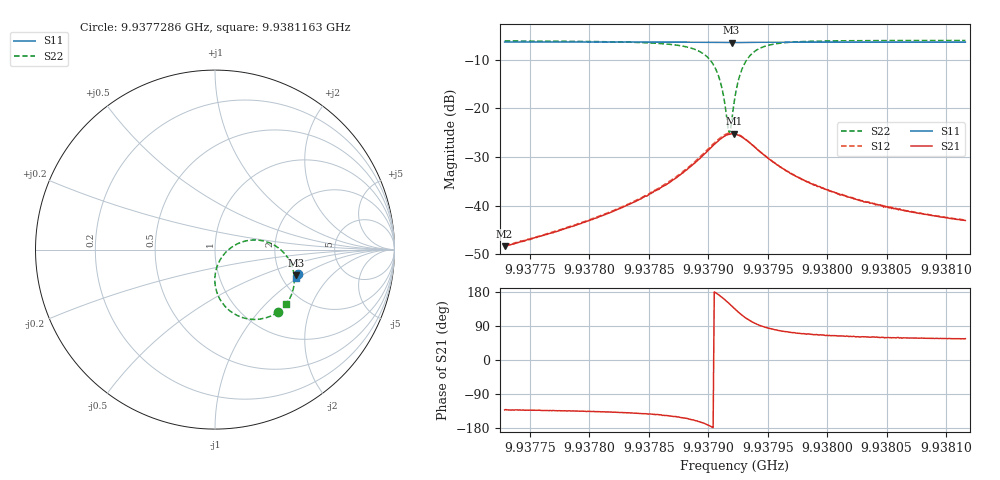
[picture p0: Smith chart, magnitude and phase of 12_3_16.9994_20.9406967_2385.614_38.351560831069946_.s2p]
#  HZ  S  RI  R  50.00
! Rohde & Schwarz Vector Network Analyzer
! Rohde-Schwarz,ZNB20-2Port,1311601062101988,3.16
! Created: UTC 3/20/2024, 10:52:38 PM
! freq[Hz]  re:S11  im:S11  re:S21  im:S21  re:S12  im:S12  re:S22  im:S22
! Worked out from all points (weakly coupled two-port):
!   401 points, 9.9377286 GHz to 9.9381163 GHz, reference 50 ohm
!   highest |S21| = -25.22 dB at 9.9379215 GHz (marker M1); lowest = -48.3 dB at 9.9377286 GHz (marker M2)
!   lowest |S11| = -6.5 dB at 9.9379196 GHz (marker M3), VSWR 2.80, Z = 121 - j44.5 ohm
!   |S11| at or under -10 dB: nowhere
!   |S22| runs from -25.1 to -6.0 dB; largest |S21 - S12| = 0.003
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9.93772861e9  0.4625 -0.1336  -0.00255 -0.00286  -0.00261 -0.00289  0.3513 -0.3466
9.93779355e9  0.4607 -0.1383  -0.00469 -0.00468  -0.00484 -0.00468  0.3286 -0.361
9.93783039e9  0.4596 -0.1408  -0.00751 -0.00648  -0.00771 -0.00651  0.302 -0.3737
9.9378585e9  0.4583 -0.1433  -0.012 -0.00855  -0.0125 -0.00869  0.2605 -0.3857
9.93788564e9  0.4563 -0.1453  -0.0235 -0.00983  -0.0243 -0.00991  0.1653 -0.3823
9.93790018e9  0.4543 -0.1459  -0.037 -0.0051  -0.0383 -0.00417  0.062 -0.3224
9.937906e9  0.4532 -0.1456  -0.0436 0.00155  -0.0452 0.00302  0.0179 -0.2569
9.93790988e9  0.4527 -0.1451  -0.0472 0.0088  -0.0484 0.0111  0.000343 -0.1924
9.93791278e9  0.4521 -0.1446  -0.0487 0.0158  -0.0494 0.0181  0.00154 -0.135
9.93791666e9  0.452 -0.1436  -0.0473 0.0257  -0.0474 0.0286  0.0297 -0.0551
9.93791763e9  0.452 -0.1433  -0.0463 0.0282  -0.0463 0.0312  0.0418 -0.0367
9.93791957e9  0.452 -0.1428  -0.0437 0.0331  -0.0432 0.0359  0.0715 -0.00353
9.93792151e9  0.4525 -0.1426  -0.0402 0.0373  -0.0391 0.0399  0.1078 0.023
9.93792248e9  0.4526 -0.1422  -0.038 0.039  -0.0367 0.0416  0.1273 0.0333
9.93792539e9  0.4533 -0.1418  -0.0312 0.0428  -0.0297 0.0451  0.1883 0.0515
9.93792926e9  0.4542 -0.1415  -0.0219 0.0448  -0.0201 0.0463  0.2639 0.0494
9.93793896e9  0.456 -0.1424  -0.00509 0.0398  -0.00373 0.0401  0.3847 -0.0191
9.93795931e9  0.4572 -0.1451  0.00537 0.0251  0.00598 0.025  0.4414 -0.1502
9.93798742e9  0.4569 -0.1481  0.00634 0.0155  0.00678 0.0154  0.4341 -0.2274
9.93801747e9  0.4561 -0.1507  0.00563 0.0109  0.00595 0.0108  0.4208 -0.263
9.93805237e9  0.4551 -0.1531  0.00494 0.00811  0.00521 0.00825  0.4094 -0.2843
9.93811635e9  0.4534 -0.1576  0.00391 0.00585  0.00408 0.00582  0.3954 -0.3049
